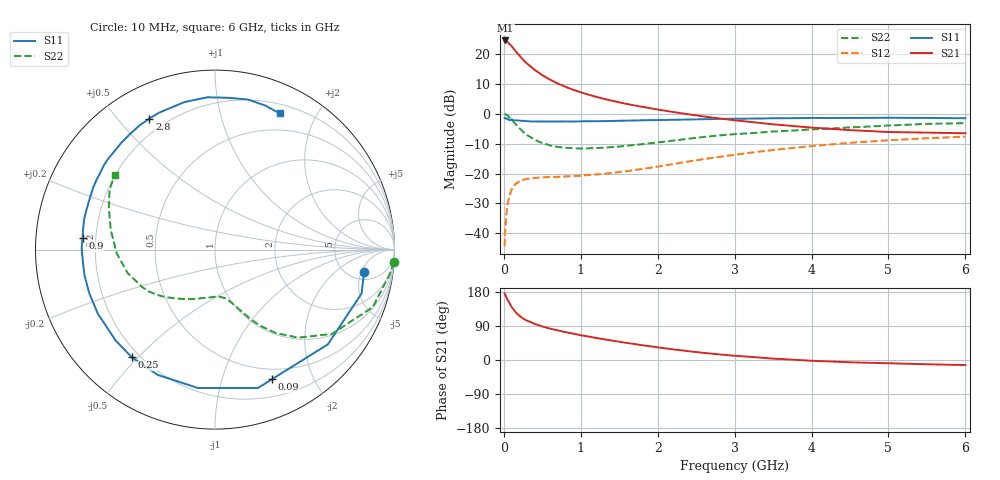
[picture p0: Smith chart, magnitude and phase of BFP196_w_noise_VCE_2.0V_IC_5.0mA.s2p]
! Infineon Technologies  Discrete & RF Semiconductors
! BFP196
! VCE =  2.0 V,  IC =  5.0 mA
! Common Emitter S-Parameters:  Jan 2017
# GHz  S  MA  R  50
!  f  S11  S21  S12  S22
! GHz  MAG  ANG  MAG  ANG  MAG  ANG  MAG  ANG
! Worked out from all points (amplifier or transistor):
!   77 points, 10 MHz to 6 GHz, reference 50 ohm
!   highest |S21| = 24.5 dB at 20 MHz (marker M1)
!   |S21| within 3 dB of that: start of sweep to 135.3 MHz
!   unconditionally stable (mu >= 1): 1.185 GHz to 2.452 GHz
!   at 130 MHz: K = 0.15, MSG = 22.9 dB, |S12| = -24.2 dB
!   at 2.2 GHz: K = 1.06, MAG = 7.2 dB, |S12| = -16.9 dB
!   at 6 GHz: K = 0.97, MSG = 0.6 dB, |S12| = -7.7 dB
!   lowest NFmin = 1.01 dB at 450 MHz
!   S11 on the Smith chart (normalised r, x): 10 MHz: 6.75, -5.62; 90 MHz: 0.38, -1.46; 250 MHz: 0.17, -0.48; 900 MHz: 0.15, +0.04; 2.8 GHz: 0.14, +0.61; 6 GHz: 0.30, +1.54
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0.01  0.8398 -8.4  16.69 175.7  0.0061 86.1  1 -4.1
0.02  0.8526 -16.6  16.77 171.1  0.0125 87.0  0.9815 -8.4
0.05  0.8211 -40.0  15.78 158.0  0.0315 69.7  0.9355 -20.0
0.09  0.789 -66.3  13.89 144.1  0.0493 57.1  0.8251 -32.2
0.1  0.8074 -72.8  13.57 140.1  0.054 55.3  0.8043 -35.7
0.15  0.777 -97.0  11.27 126.7  0.067 43.8  0.6752 -46.6
0.2  0.7677 -114.6  9.44 117.1  0.0735 36.9  0.5756 -53.9
0.25  0.758 -127.7  8.008 109.4  0.0783 32.0  0.4986 -58.9
0.3  0.7504 -137.5  6.902 103.9  0.0812 28.8  0.4412 -62.6
0.4  0.744 -151.3  5.401 95.1  0.0842 25.6  0.3663 -67.4
0.5  0.7416 -161.3  4.396 88.5  0.0861 24.2  0.3228 -71.3
0.6  0.741 -168.9  3.715 82.9  0.0877 24.2  0.2955 -74.7
0.7  0.7392 -174.9  3.203 78.2  0.0879 24.5  0.2784 -77.7
0.9  0.741 174.9  2.512 69.5  0.0907 26.7  0.2646 -84.3
1.1  0.7483 166.8  2.08 61.9  0.0945 30.2  0.2636 -91.3
1.5  0.7619 152.8  1.546 48.2  0.106 37.3  0.2822 -106.3
2.1  0.7858 134.2  1.12 30.8  0.137 44.6  0.3421 -127.1
2.8  0.8166 116.6  0.834 14.7  0.1896 44.7  0.4333 -147.0
3.1  0.8252 109.9  0.753 9.8  0.214 42.6  0.4627 -155.0
4.1  0.8484 91.2  0.575 -2.8  0.2948 32.1  0.5537 179.6
5.1  0.854 76.2  0.492 -9.1  0.3649 19.1  0.6421 156.9
6  0.8401 64.6  0.471 -13.3  0.4141 7.4  0.6957 143.3
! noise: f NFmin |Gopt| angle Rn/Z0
0.45  1.01  0.42  127  0.08
0.9  1.47  0.55  170  0.06
1.9  2.9  0.74  -142  0.31
2.4  3.55  0.76  -125  0.95
